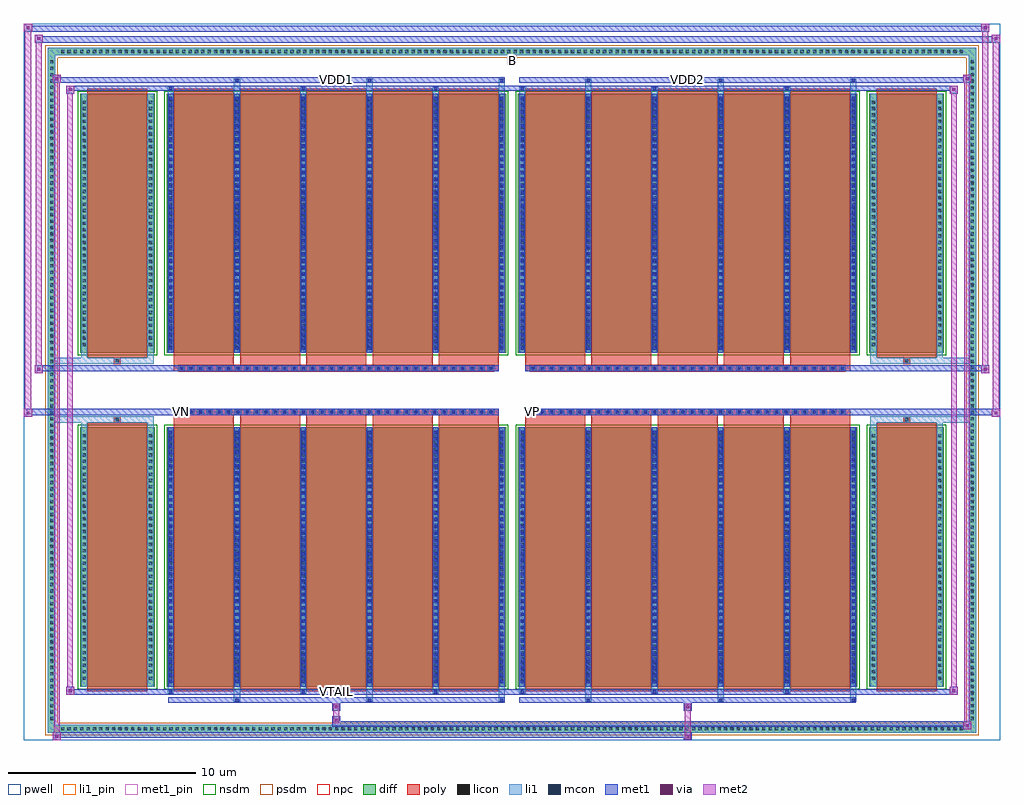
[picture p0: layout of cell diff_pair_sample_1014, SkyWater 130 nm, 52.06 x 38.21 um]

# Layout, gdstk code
import gdstk
lib = gdstk.Library(unit=1e-6, precision=5e-09)
def R(c, l, rs):  # rectangles x0, y0, x1, y1
    for r in rs: c.add(gdstk.rectangle(r[:2], r[2:], *l))
def A(c, l, x, y, w, h, nx, ny, dx, dy):  # array of equal rectangles
    R(c, l, [(x+i*dx, y+j*dy, x+i*dx+w, y+j*dy+h) for i in range(nx) for j in range(ny)])
def P(c, l, *ps):  # polygons
    for p in ps: c.add(gdstk.Polygon(p, *l))
pwell = (64, 44)
diff = (65, 20)
poly = (66, 20)
licon = (66, 44)
li1_pin = (67, 16)
li1 = (67, 20)
mcon = (67, 44)
met1_pin = (68, 16)
met1 = (68, 20)
via = (68, 44)
met2 = (69, 20)
nsdm = (93, 44)
psdm = (94, 20)
npc = (95, 20)

diff_pair_sample_1014 = lib.new_cell('diff_pair_sample_1014')
R(diff_pair_sample_1014, pwell, [(-26.03,-18.67,26.03,19.54), (-23.35,-16.86,-0.01,-0.8), (0.01,-16.86,23.35,-0.8), (-23.35,0.8,-0.01,16.86), (0.01,0.8,23.35,16.86)])
A(diff_pair_sample_1014, diff, -24.175, -18.27, 0.41, 0.41, 142, 2, 0.34, 36.13)
A(diff_pair_sample_1014, diff, -24.76, -17.715, 0.41, 0.41, 1, 104, 0, 0.34)
A(diff_pair_sample_1014, diff, 24.35, -17.715, 0.41, 0.41, 1, 104, 0, 0.34)
R(diff_pair_sample_1014, diff, [(-24.175,-18.27,24.175,-17.86), (-24.76,-17.715,-24.35,17.715), (24.35,-17.715,24.76,17.715), (-23.04,-15.815,-19.06,-1.985), (-18.42,-15.815,-0.32,-1.985), (0.32,-15.815,18.42,-1.985), (19.06,-15.815,23.04,-1.985), (-23.04,1.985,-19.06,15.815), (-18.42,1.985,-0.32,15.815), (0.32,1.985,18.42,15.815), (19.06,1.985,23.04,15.815), (-24.175,17.86,24.175,18.27)])
P(diff_pair_sample_1014, diff, [(24.76,18.27),(-24.76,18.27),(-24.76,-17.86),(-24.35,-17.86),(-24.35,17.86),(24.35,17.86),(24.35,-17.86),(-24.35,-17.86),(-24.76,-17.86),(-24.76,-18.27),(24.76,-18.27)])
A(diff_pair_sample_1014, poly, -18.03, -16.065, 3.2, 14.33, 5, 2, 3.53, 17.8)
A(diff_pair_sample_1014, poly, 0.71, -16.065, 3.2, 14.33, 5, 2, 3.53, 17.8)
A(diff_pair_sample_1014, poly, -18.03, -1.735, 3.2, 0.405, 5, 2, 3.53, 3.065)
A(diff_pair_sample_1014, poly, 0.71, -1.735, 3.2, 0.405, 5, 2, 3.53, 3.065)
A(diff_pair_sample_1014, poly, -17.785, -1.33, 0.33, 0.33, 34, 2, 0.5, 2.33)
A(diff_pair_sample_1014, poly, 0.955, -1.33, 0.33, 0.33, 34, 2, 0.5, 2.33)
R(diff_pair_sample_1014, poly, [(-22.65,-16.065,-19.45,-1.735), (19.45,-16.065,22.65,-1.735), (-21.215,-1.735,-20.885,-1.405), (-21.215,-1.735,-20.885,-1.405), (20.885,-1.735,21.215,-1.405), (20.885,-1.735,21.215,-1.405), (-18.03,-1.33,-0.71,-1), (0.71,-1.33,18.03,-1), (-18.03,1,-0.71,1.33), (0.71,1,18.03,1.33), (-21.215,1.405,-20.885,1.735), (-21.215,1.405,-20.885,1.735), (20.885,1.405,21.215,1.735), (20.885,1.405,21.215,1.735), (-22.65,1.735,-19.45,16.065), (19.45,1.735,22.65,16.065)])
A(diff_pair_sample_1014, licon, -24.055, -18.15, 0.17, 0.17, 142, 2, 0.34, 36.13)
A(diff_pair_sample_1014, licon, -24.64, -17.595, 0.17, 0.17, 1, 104, 0, 0.34)
A(diff_pair_sample_1014, licon, 24.47, -17.595, 0.17, 0.17, 1, 104, 0, 0.34)
A(diff_pair_sample_1014, licon, -22.9, -15.445, 0.17, 0.17, 1, 39, 0, 0.34)
A(diff_pair_sample_1014, licon, -19.37, -15.445, 0.17, 0.17, 1, 39, 0, 0.34)
A(diff_pair_sample_1014, licon, -18.28, -15.445, 0.17, 0.17, 6, 39, 3.53, 0.34)
A(diff_pair_sample_1014, licon, 0.46, -15.445, 0.17, 0.17, 6, 39, 3.53, 0.34)
A(diff_pair_sample_1014, licon, 19.2, -15.445, 0.17, 0.17, 1, 39, 0, 0.34)
A(diff_pair_sample_1014, licon, 22.73, -15.445, 0.17, 0.17, 1, 39, 0, 0.34)
A(diff_pair_sample_1014, licon, -17.705, -1.25, 0.17, 0.17, 34, 2, 0.5, 2.33)
A(diff_pair_sample_1014, licon, 1.035, -1.25, 0.17, 0.17, 34, 2, 0.5, 2.33)
A(diff_pair_sample_1014, licon, -22.9, 2.355, 0.17, 0.17, 1, 39, 0, 0.34)
A(diff_pair_sample_1014, licon, -19.37, 2.355, 0.17, 0.17, 1, 39, 0, 0.34)
A(diff_pair_sample_1014, licon, -18.28, 2.355, 0.17, 0.17, 6, 39, 3.53, 0.34)
A(diff_pair_sample_1014, licon, 0.46, 2.355, 0.17, 0.17, 6, 39, 3.53, 0.34)
A(diff_pair_sample_1014, licon, 19.2, 2.355, 0.17, 0.17, 1, 39, 0, 0.34)
A(diff_pair_sample_1014, licon, 22.73, 2.355, 0.17, 0.17, 1, 39, 0, 0.34)
R(diff_pair_sample_1014, licon, [(-21.135,-1.655,-20.965,-1.485), (20.965,-1.655,21.135,-1.485), (-21.135,1.485,-20.965,1.655), (20.965,1.485,21.135,1.655)])
R(diff_pair_sample_1014, li1_pin, [(-0.25,17.36,0.25,17.86)])
A(diff_pair_sample_1014, li1, -24.135, -18.23, 0.33, 0.33, 142, 2, 0.34, 36.13)
A(diff_pair_sample_1014, li1, -24.72, -17.675, 0.33, 0.33, 1, 104, 0, 0.34)
A(diff_pair_sample_1014, li1, 24.39, -17.675, 0.33, 0.33, 1, 104, 0, 0.34)
A(diff_pair_sample_1014, li1, -14.83, -16.62, 0.33, 0.805, 3, 2, 7.06, 32.435)
A(diff_pair_sample_1014, li1, -14.75, -16.62, 0.17, 0.17, 3, 2, 7.06, 33.07)
A(diff_pair_sample_1014, li1, 3.91, -16.62, 0.33, 0.805, 3, 2, 7.06, 32.435)
A(diff_pair_sample_1014, li1, 3.99, -16.62, 0.17, 0.17, 3, 2, 7.06, 33.07)
A(diff_pair_sample_1014, li1, -18.36, -16.19, 0.33, 0.375, 3, 2, 7.06, 32.005)
A(diff_pair_sample_1014, li1, -18.28, -16.19, 0.17, 0.17, 3, 2, 7.06, 32.21)
A(diff_pair_sample_1014, li1, 0.38, -16.19, 0.33, 0.375, 3, 2, 7.06, 32.005)
A(diff_pair_sample_1014, li1, 0.46, -16.19, 0.17, 0.17, 3, 2, 7.06, 32.21)
A(diff_pair_sample_1014, li1, -18.36, -15.815, 0.33, 13.83, 6, 2, 3.53, 17.8)
A(diff_pair_sample_1014, li1, 0.38, -15.815, 0.33, 13.83, 6, 2, 3.53, 17.8)
A(diff_pair_sample_1014, li1, -18.28, -15.645, 0.17, 0.17, 6, 38, 3.53, 0.36)
A(diff_pair_sample_1014, li1, -18.28, -15.645, 0.17, 13.49, 6, 2, 3.53, 17.8)
A(diff_pair_sample_1014, li1, 0.46, -15.645, 0.17, 0.17, 6, 38, 3.53, 0.36)
A(diff_pair_sample_1014, li1, 0.46, -15.645, 0.17, 13.49, 6, 2, 3.53, 17.8)
A(diff_pair_sample_1014, li1, -22.98, -15.525, 0.33, 0.33, 1, 39, 0, 0.34)
A(diff_pair_sample_1014, li1, -19.45, -15.525, 0.33, 0.33, 1, 39, 0, 0.34)
A(diff_pair_sample_1014, li1, -18.36, -15.525, 0.33, 0.33, 6, 39, 3.53, 0.34)
A(diff_pair_sample_1014, li1, 0.38, -15.525, 0.33, 0.33, 6, 39, 3.53, 0.34)
A(diff_pair_sample_1014, li1, 19.12, -15.525, 0.33, 0.33, 1, 39, 0, 0.34)
A(diff_pair_sample_1014, li1, 22.65, -15.525, 0.33, 0.33, 1, 39, 0, 0.34)
A(diff_pair_sample_1014, li1, -17.785, -1.33, 0.33, 0.33, 34, 2, 0.5, 2.33)
A(diff_pair_sample_1014, li1, 0.955, -1.33, 0.33, 0.33, 34, 2, 0.5, 2.33)
A(diff_pair_sample_1014, li1, -18.28, 2.155, 0.17, 0.17, 6, 38, 3.53, 0.36)
A(diff_pair_sample_1014, li1, 0.46, 2.155, 0.17, 0.17, 6, 38, 3.53, 0.36)
A(diff_pair_sample_1014, li1, -22.98, 2.275, 0.33, 0.33, 1, 39, 0, 0.34)
A(diff_pair_sample_1014, li1, -19.45, 2.275, 0.33, 0.33, 1, 39, 0, 0.34)
A(diff_pair_sample_1014, li1, -18.36, 2.275, 0.33, 0.33, 6, 39, 3.53, 0.34)
A(diff_pair_sample_1014, li1, 0.38, 2.275, 0.33, 0.33, 6, 39, 3.53, 0.34)
A(diff_pair_sample_1014, li1, 19.12, 2.275, 0.33, 0.33, 1, 39, 0, 0.34)
A(diff_pair_sample_1014, li1, 22.65, 2.275, 0.33, 0.33, 1, 39, 0, 0.34)
R(diff_pair_sample_1014, li1, [(-24.76,-18.27,-24.35,-17.86), (-24.76,-18.27,-24.35,-17.86), (-24.35,-18.27,24.35,-17.86), (24.35,-18.27,24.76,-17.86), (24.35,-18.27,24.76,-17.86), (-24.76,-17.86,-24.35,17.86), (24.35,-17.86,24.76,17.86), (-22.98,-15.815,-22.65,-1.985), (-19.45,-15.815,-19.12,-1.985), (19.12,-15.815,19.45,-1.985), (22.65,-15.815,22.98,-1.985), (-22.98,-1.985,-22.65,-1.405), (-19.45,-1.985,-19.12,-1.405), (19.12,-1.985,19.45,-1.405), (22.65,-1.985,22.98,-1.405), (-24.76,-1.735,-21.215,-1.405), (-22.98,-1.735,-21.215,-1.405), (-21.215,-1.735,-20.885,-1.405), (-20.885,-1.735,-19.12,-1.405), (19.12,-1.735,20.885,-1.405), (20.885,-1.735,21.215,-1.405), (20.885,-1.735,24.76,-1.405), (21.215,-1.735,22.98,-1.405), (-24.76,1.405,-21.215,1.735), (-22.98,1.405,-21.215,1.735), (-22.98,1.405,-22.65,1.985), (-21.215,1.405,-20.885,1.735), (-20.885,1.405,-19.12,1.735), (-19.45,1.405,-19.12,1.985), (19.12,1.405,20.885,1.735), (19.12,1.405,19.45,1.985), (20.885,1.405,21.215,1.735), (20.885,1.405,24.76,1.735), (21.215,1.405,22.98,1.735), (22.65,1.405,22.98,1.985), (-22.98,1.985,-22.65,15.815), (-19.45,1.985,-19.12,15.815), (19.12,1.985,19.45,15.815), (22.65,1.985,22.98,15.815), (-24.76,17.86,-24.35,18.27), (-24.76,17.86,-24.35,18.27), (-24.35,17.86,24.35,18.27), (24.35,17.86,24.76,18.27), (24.35,17.86,24.76,18.27)])
A(diff_pair_sample_1014, mcon, -14.75, -16.62, 0.17, 0.17, 3, 2, 7.06, 33.07)
A(diff_pair_sample_1014, mcon, 3.99, -16.62, 0.17, 0.17, 3, 2, 7.06, 33.07)
A(diff_pair_sample_1014, mcon, -18.28, -16.19, 0.17, 0.17, 3, 2, 7.06, 32.21)
A(diff_pair_sample_1014, mcon, 0.46, -16.19, 0.17, 0.17, 3, 2, 7.06, 32.21)
A(diff_pair_sample_1014, mcon, -18.28, -15.645, 0.17, 0.17, 6, 38, 3.53, 0.36)
A(diff_pair_sample_1014, mcon, 0.46, -15.645, 0.17, 0.17, 6, 38, 3.53, 0.36)
A(diff_pair_sample_1014, mcon, -17.705, -1.25, 0.17, 0.17, 34, 2, 0.5, 2.33)
A(diff_pair_sample_1014, mcon, 1.035, -1.25, 0.17, 0.17, 34, 2, 0.5, 2.33)
A(diff_pair_sample_1014, mcon, -18.28, 2.155, 0.17, 0.17, 6, 38, 3.53, 0.36)
A(diff_pair_sample_1014, mcon, 0.46, 2.155, 0.17, 0.17, 6, 38, 3.53, 0.36)
R(diff_pair_sample_1014, met1_pin, [(-9.505,-16.23,-9.235,-15.96), (-17.755,-1.29,-17.485,-1.02), (0.985,-1.29,1.255,-1.02), (-9.505,16.41,-9.235,16.68), (9.235,16.41,9.505,16.68)])
A(diff_pair_sample_1014, met1, -14.81, -16.68, 0.29, 0.29, 3, 2, 7.06, 33.07)
A(diff_pair_sample_1014, met1, 3.93, -16.68, 0.29, 0.29, 3, 2, 7.06, 33.07)
A(diff_pair_sample_1014, met1, -18.34, -16.25, 0.29, 0.29, 3, 2, 7.06, 32.21)
A(diff_pair_sample_1014, met1, 0.4, -16.25, 0.29, 0.29, 3, 2, 7.06, 32.21)
A(diff_pair_sample_1014, met1, -18.34, -15.815, 0.29, 13.83, 6, 2, 3.53, 17.8)
A(diff_pair_sample_1014, met1, 0.4, -15.815, 0.29, 13.83, 6, 2, 3.53, 17.8)
A(diff_pair_sample_1014, met1, -18.34, -15.705, 0.29, 0.29, 6, 38, 3.53, 0.36)
A(diff_pair_sample_1014, met1, 0.4, -15.705, 0.29, 0.29, 6, 38, 3.53, 0.36)
A(diff_pair_sample_1014, met1, -17.765, -1.31, 0.29, 0.29, 34, 2, 0.5, 2.33)
A(diff_pair_sample_1014, met1, 0.975, -1.31, 0.29, 0.29, 34, 2, 0.5, 2.33)
A(diff_pair_sample_1014, met1, -18.34, 2.095, 0.29, 0.29, 6, 38, 3.53, 0.36)
A(diff_pair_sample_1014, met1, 0.4, 2.095, 0.29, 0.29, 6, 38, 3.53, 0.36)
R(diff_pair_sample_1014, met1, [(-24.49,-18.67,-24.06,-18.24), (9.155,-18.67,9.585,-18.24), (-24.49,-18.53,9.585,-18.24), (24.06,-18.1,24.49,-17.67), (-9.585,-17.96,24.49,-17.67), (-9.585,-17.82,-9.155,-17.39), (-9.585,-17.11,-9.155,-16.68), (9.155,-17.11,9.585,-16.68), (-18.34,-16.68,-0.4,-16.39), (0.4,-16.68,18.34,-16.39), (-23.78,-16.25,-23.35,-15.82), (-23.78,-16.25,-18.34,-15.96), (-18.34,-16.25,-0.4,-15.96), (-0.4,-16.25,0.4,-15.96), (0.4,-16.25,18.34,-15.96), (18.34,-16.25,23.78,-15.96), (23.35,-16.25,23.78,-15.82), (-26.03,-1.43,-25.6,-1), (25.6,-1.43,26.03,-1), (-26.03,-1.33,-0.71,-1), (-18.03,-1.33,-0.71,-1), (0.71,-1.33,18.03,-1), (0.71,-1.33,26.03,-1), (-25.46,0.9,-25.03,1.33), (25.03,0.9,25.46,1.33), (-25.46,1,-18.03,1.33), (-18.03,1,-0.71,1.33), (0.71,1,18.03,1.33), (18.03,1,25.46,1.33), (-23.78,15.82,-23.35,16.25), (23.35,15.82,23.78,16.25), (-23.78,15.96,-18.34,16.25), (-18.34,15.96,-0.4,16.25), (-0.4,15.96,0.4,16.25), (0.4,15.96,18.34,16.25), (18.34,15.96,23.78,16.25), (-24.49,16.39,-24.06,16.82), (-24.49,16.39,-18.34,16.68), (-18.34,16.39,-0.4,16.68), (0.4,16.39,18.34,16.68), (18.34,16.39,24.49,16.68), (24.06,16.39,24.49,16.82), (-25.46,18.54,-25.03,18.97), (-25.46,18.54,-23.35,18.87), (-23.35,18.54,23.35,18.87), (23.35,18.54,26.03,18.87), (25.6,18.54,26.03,18.97), (-26.03,19.11,-25.6,19.54), (-26.03,19.11,-23.35,19.44), (-23.35,19.11,23.35,19.44), (23.35,19.11,25.46,19.44), (25.03,19.11,25.46,19.54)])
R(diff_pair_sample_1014, via, [(-24.35,-18.53,-24.2,-18.38), (9.295,-18.53,9.445,-18.38), (24.2,-17.96,24.35,-17.81), (-9.445,-17.68,-9.295,-17.53), (-9.445,-16.97,-9.295,-16.82), (9.295,-16.97,9.445,-16.82), (-23.64,-16.11,-23.49,-15.96), (23.49,-16.11,23.64,-15.96), (-25.89,-1.29,-25.74,-1.14), (25.74,-1.29,25.89,-1.14), (-25.32,1.04,-25.17,1.19), (25.17,1.04,25.32,1.19), (-23.64,15.96,-23.49,16.11), (23.49,15.96,23.64,16.11), (-24.35,16.53,-24.2,16.68), (24.2,16.53,24.35,16.68), (-25.32,18.68,-25.17,18.83), (25.74,18.68,25.89,18.83), (-25.89,19.25,-25.74,19.4), (25.17,19.25,25.32,19.4)])
R(diff_pair_sample_1014, met2, [(-24.49,-18.67,-24.06,-18.24), (-24.42,-18.67,-24.13,16.82), (-24.13,-18.67,-24.06,-18.24), (-24.44,-18.62,-24.11,-18.29), (9.205,-18.62,9.535,-18.29), (9.205,-18.29,9.535,-17.06), (24.06,-18.1,24.49,-17.67), (24.13,-18.1,24.42,16.82), (24.42,-18.1,24.49,-17.67), (24.11,-18.05,24.44,-17.72), (-9.535,-17.77,-9.205,-17.44), (-9.535,-17.44,-9.205,-17.06), (-9.535,-17.06,-9.205,-16.73), (9.205,-17.06,9.535,-16.73), (-23.78,-16.25,-23.35,-15.82), (-23.71,-16.25,-23.42,16.25), (-23.42,-16.25,-23.35,-15.82), (23.35,-16.25,23.78,-15.82), (23.42,-16.25,23.71,16.25), (23.71,-16.25,23.78,-15.82), (-23.73,-16.2,-23.4,-15.87), (23.4,-16.2,23.73,-15.87), (-26.03,-1.43,-25.6,-1), (-25.98,-1.43,-25.65,19.54), (-25.65,-1.43,-25.6,-1), (25.6,-1.43,26.03,-1), (25.65,-1.43,25.98,18.97), (25.98,-1.43,26.03,-1), (-25.98,-1.38,-25.65,-1.05), (25.65,-1.38,25.98,-1.05), (-25.46,0.9,-25.03,1.33), (-25.41,0.9,-25.08,18.97), (-25.08,0.9,-25.03,1.33), (25.03,0.9,25.46,1.33), (25.08,0.9,25.41,19.54), (25.41,0.9,25.46,1.33), (-25.41,0.95,-25.08,1.28), (25.08,0.95,25.41,1.28), (-23.78,15.82,-23.35,16.25), (-23.42,15.82,-23.35,16.25), (23.35,15.82,23.78,16.25), (23.71,15.82,23.78,16.25), (-23.73,15.87,-23.4,16.2), (23.4,15.87,23.73,16.2), (-24.49,16.39,-24.06,16.82), (-24.13,16.39,-24.06,16.82), (24.06,16.39,24.49,16.82), (24.42,16.39,24.49,16.82), (-24.44,16.44,-24.11,16.77), (24.11,16.44,24.44,16.77), (-25.46,18.54,-25.03,18.97), (-25.08,18.54,-25.03,18.97), (25.6,18.54,26.03,18.97), (25.98,18.54,26.03,18.97), (-25.41,18.59,-25.08,18.92), (25.65,18.59,25.98,18.92), (-26.03,19.11,-25.6,19.54), (-25.65,19.11,-25.6,19.54), (25.03,19.11,25.46,19.54), (25.41,19.11,25.46,19.54), (-25.98,19.16,-25.65,19.49), (25.08,19.16,25.41,19.49)])
R(diff_pair_sample_1014, nsdm, [(-23.17,-15.945,-18.93,-1.855), (-18.55,-15.945,-0.19,-1.855), (0.19,-15.945,18.55,-1.855), (18.93,-15.945,23.17,-1.855), (-23.17,1.855,-18.93,15.945), (-18.55,1.855,-0.19,15.945), (0.19,1.855,18.55,15.945), (18.93,1.855,23.17,15.945)])
P(diff_pair_sample_1014, psdm, [(24.89,18.4),(-24.89,18.4),(-24.89,-17.73),(-24.22,-17.73),(-24.22,17.73),(24.22,17.73),(24.22,-17.73),(-24.22,-17.73),(-24.89,-17.73),(-24.89,-18.4),(24.89,-18.4)])
A(diff_pair_sample_1014, npc, -17.805, -1.35, 0.37, 0.37, 34, 2, 0.5, 2.33)
A(diff_pair_sample_1014, npc, 0.935, -1.35, 0.37, 0.37, 34, 2, 0.5, 2.33)
R(diff_pair_sample_1014, npc, [(-21.235,-1.755,-20.865,-1.385), (20.865,-1.755,21.235,-1.385), (-17.805,-1.35,-16.935,-0.98), (-17.805,-1.35,-16.935,-0.98), (-17.305,-1.35,-16.435,-0.98), (-17.305,-1.35,-16.435,-0.98), (-16.805,-1.35,-15.935,-0.98), (-16.805,-1.35,-15.935,-0.98), (-16.305,-1.35,-15.435,-0.98), (-16.305,-1.35,-15.435,-0.98), (-15.805,-1.35,-14.935,-0.98), (-15.805,-1.35,-14.935,-0.98), (-15.305,-1.35,-14.435,-0.98), (-15.305,-1.35,-14.435,-0.98), (-14.805,-1.35,-13.935,-0.98), (-14.805,-1.35,-13.935,-0.98), (-14.305,-1.35,-13.435,-0.98), (-14.305,-1.35,-13.435,-0.98), (-13.805,-1.35,-12.935,-0.98), (-13.805,-1.35,-12.935,-0.98), (-13.305,-1.35,-12.435,-0.98), (-13.305,-1.35,-12.435,-0.98), (-12.805,-1.35,-11.935,-0.98), (-12.805,-1.35,-11.935,-0.98), (-12.305,-1.35,-11.435,-0.98), (-12.305,-1.35,-11.435,-0.98), (-11.805,-1.35,-10.935,-0.98), (-11.805,-1.35,-10.935,-0.98), (-11.305,-1.35,-10.435,-0.98), (-11.305,-1.35,-10.435,-0.98), (-10.805,-1.35,-9.935,-0.98), (-10.805,-1.35,-9.935,-0.98), (-10.305,-1.35,-9.435,-0.98), (-10.305,-1.35,-9.435,-0.98), (-9.805,-1.35,-8.935,-0.98), (-9.805,-1.35,-8.935,-0.98), (-9.305,-1.35,-8.435,-0.98), (-9.305,-1.35,-8.435,-0.98), (-8.805,-1.35,-7.935,-0.98), (-8.805,-1.35,-7.935,-0.98), (-8.305,-1.35,-7.435,-0.98), (-8.305,-1.35,-7.435,-0.98), (-7.805,-1.35,-6.935,-0.98), (-7.805,-1.35,-6.935,-0.98), (-7.305,-1.35,-6.435,-0.98), (-7.305,-1.35,-6.435,-0.98), (-6.805,-1.35,-5.935,-0.98), (-6.805,-1.35,-5.935,-0.98), (-6.305,-1.35,-5.435,-0.98), (-6.305,-1.35,-5.435,-0.98), (-5.805,-1.35,-4.935,-0.98), (-5.805,-1.35,-4.935,-0.98), (-5.305,-1.35,-4.435,-0.98), (-5.305,-1.35,-4.435,-0.98), (-4.805,-1.35,-3.935,-0.98), (-4.805,-1.35,-3.935,-0.98), (-4.305,-1.35,-3.435,-0.98), (-4.305,-1.35,-3.435,-0.98), (-3.805,-1.35,-2.935,-0.98), (-3.805,-1.35,-2.935,-0.98), (-3.305,-1.35,-2.435,-0.98), (-3.305,-1.35,-2.435,-0.98), (-2.805,-1.35,-1.935,-0.98), (-2.805,-1.35,-1.935,-0.98), (-2.305,-1.35,-1.435,-0.98), (-2.305,-1.35,-1.435,-0.98), (-1.805,-1.35,-0.935,-0.98), (-1.805,-1.35,-0.935,-0.98), (0.935,-1.35,1.805,-0.98), (0.935,-1.35,1.805,-0.98), (1.435,-1.35,2.305,-0.98), (1.435,-1.35,2.305,-0.98), (1.935,-1.35,2.805,-0.98), (1.935,-1.35,2.805,-0.98), (2.435,-1.35,3.305,-0.98), (2.435,-1.35,3.305,-0.98), (2.935,-1.35,3.805,-0.98), (2.935,-1.35,3.805,-0.98), (3.435,-1.35,4.305,-0.98), (3.435,-1.35,4.305,-0.98), (3.935,-1.35,4.805,-0.98), (3.935,-1.35,4.805,-0.98), (4.435,-1.35,5.305,-0.98), (4.435,-1.35,5.305,-0.98), (4.935,-1.35,5.805,-0.98), (4.935,-1.35,5.805,-0.98), (5.435,-1.35,6.305,-0.98), (5.435,-1.35,6.305,-0.98), (5.935,-1.35,6.805,-0.98), (5.935,-1.35,6.805,-0.98), (6.435,-1.35,7.305,-0.98), (6.435,-1.35,7.305,-0.98), (6.935,-1.35,7.805,-0.98), (6.935,-1.35,7.805,-0.98), (7.435,-1.35,8.305,-0.98), (7.435,-1.35,8.305,-0.98), (7.935,-1.35,8.805,-0.98), (7.935,-1.35,8.805,-0.98), (8.435,-1.35,9.305,-0.98), (8.435,-1.35,9.305,-0.98), (8.935,-1.35,9.805,-0.98), (8.935,-1.35,9.805,-0.98), (9.435,-1.35,10.305,-0.98), (9.435,-1.35,10.305,-0.98), (9.935,-1.35,10.805,-0.98), (9.935,-1.35,10.805,-0.98), (10.435,-1.35,11.305,-0.98), (10.435,-1.35,11.305,-0.98), (10.935,-1.35,11.805,-0.98), (10.935,-1.35,11.805,-0.98), (11.435,-1.35,12.305,-0.98), (11.435,-1.35,12.305,-0.98), (11.935,-1.35,12.805,-0.98), (11.935,-1.35,12.805,-0.98), (12.435,-1.35,13.305,-0.98), (12.435,-1.35,13.305,-0.98), (12.935,-1.35,13.805,-0.98), (12.935,-1.35,13.805,-0.98), (13.435,-1.35,14.305,-0.98), (13.435,-1.35,14.305,-0.98), (13.935,-1.35,14.805,-0.98), (13.935,-1.35,14.805,-0.98), (14.435,-1.35,15.305,-0.98), (14.435,-1.35,15.305,-0.98), (14.935,-1.35,15.805,-0.98), (14.935,-1.35,15.805,-0.98), (15.435,-1.35,16.305,-0.98), (15.435,-1.35,16.305,-0.98), (15.935,-1.35,16.805,-0.98), (15.935,-1.35,16.805,-0.98), (16.435,-1.35,17.305,-0.98), (16.435,-1.35,17.305,-0.98), (16.935,-1.35,17.805,-0.98), (16.935,-1.35,17.805,-0.98), (-17.805,0.98,-16.935,1.35), (-17.805,0.98,-16.935,1.35), (-17.305,0.98,-16.435,1.35), (-17.305,0.98,-16.435,1.35), (-16.805,0.98,-15.935,1.35), (-16.805,0.98,-15.935,1.35), (-16.305,0.98,-15.435,1.35), (-16.305,0.98,-15.435,1.35), (-15.805,0.98,-14.935,1.35), (-15.805,0.98,-14.935,1.35), (-15.305,0.98,-14.435,1.35), (-15.305,0.98,-14.435,1.35), (-14.805,0.98,-13.935,1.35), (-14.805,0.98,-13.935,1.35), (-14.305,0.98,-13.435,1.35), (-14.305,0.98,-13.435,1.35), (-13.805,0.98,-12.935,1.35), (-13.805,0.98,-12.935,1.35), (-13.305,0.98,-12.435,1.35), (-13.305,0.98,-12.435,1.35), (-12.805,0.98,-11.935,1.35), (-12.805,0.98,-11.935,1.35), (-12.305,0.98,-11.435,1.35), (-12.305,0.98,-11.435,1.35), (-11.805,0.98,-10.935,1.35), (-11.805,0.98,-10.935,1.35), (-11.305,0.98,-10.435,1.35), (-11.305,0.98,-10.435,1.35), (-10.805,0.98,-9.935,1.35), (-10.805,0.98,-9.935,1.35), (-10.305,0.98,-9.435,1.35), (-10.305,0.98,-9.435,1.35), (-9.805,0.98,-8.935,1.35), (-9.805,0.98,-8.935,1.35), (-9.305,0.98,-8.435,1.35), (-9.305,0.98,-8.435,1.35), (-8.805,0.98,-7.935,1.35), (-8.805,0.98,-7.935,1.35), (-8.305,0.98,-7.435,1.35), (-8.305,0.98,-7.435,1.35), (-7.805,0.98,-6.935,1.35), (-7.805,0.98,-6.935,1.35), (-7.305,0.98,-6.435,1.35), (-7.305,0.98,-6.435,1.35), (-6.805,0.98,-5.935,1.35), (-6.805,0.98,-5.935,1.35), (-6.305,0.98,-5.435,1.35), (-6.305,0.98,-5.435,1.35), (-5.805,0.98,-4.935,1.35), (-5.805,0.98,-4.935,1.35), (-5.305,0.98,-4.435,1.35), (-5.305,0.98,-4.435,1.35), (-4.805,0.98,-3.935,1.35), (-4.805,0.98,-3.935,1.35), (-4.305,0.98,-3.435,1.35), (-4.305,0.98,-3.435,1.35), (-3.805,0.98,-2.935,1.35), (-3.805,0.98,-2.935,1.35), (-3.305,0.98,-2.435,1.35), (-3.305,0.98,-2.435,1.35), (-2.805,0.98,-1.935,1.35), (-2.805,0.98,-1.935,1.35), (-2.305,0.98,-1.435,1.35), (-2.305,0.98,-1.435,1.35), (-1.805,0.98,-0.935,1.35), (-1.805,0.98,-0.935,1.35), (0.935,0.98,1.805,1.35), (0.935,0.98,1.805,1.35), (1.435,0.98,2.305,1.35), (1.435,0.98,2.305,1.35), (1.935,0.98,2.805,1.35), (1.935,0.98,2.805,1.35), (2.435,0.98,3.305,1.35), (2.435,0.98,3.305,1.35), (2.935,0.98,3.805,1.35), (2.935,0.98,3.805,1.35), (3.435,0.98,4.305,1.35), (3.435,0.98,4.305,1.35), (3.935,0.98,4.805,1.35), (3.935,0.98,4.805,1.35), (4.435,0.98,5.305,1.35), (4.435,0.98,5.305,1.35), (4.935,0.98,5.805,1.35), (4.935,0.98,5.805,1.35), (5.435,0.98,6.305,1.35), (5.435,0.98,6.305,1.35), (5.935,0.98,6.805,1.35), (5.935,0.98,6.805,1.35), (6.435,0.98,7.305,1.35), (6.435,0.98,7.305,1.35), (6.935,0.98,7.805,1.35), (6.935,0.98,7.805,1.35), (7.435,0.98,8.305,1.35), (7.435,0.98,8.305,1.35), (7.935,0.98,8.805,1.35), (7.935,0.98,8.805,1.35), (8.435,0.98,9.305,1.35), (8.435,0.98,9.305,1.35), (8.935,0.98,9.805,1.35), (8.935,0.98,9.805,1.35), (9.435,0.98,10.305,1.35), (9.435,0.98,10.305,1.35), (9.935,0.98,10.805,1.35), (9.935,0.98,10.805,1.35), (10.435,0.98,11.305,1.35), (10.435,0.98,11.305,1.35), (10.935,0.98,11.805,1.35), (10.935,0.98,11.805,1.35), (11.435,0.98,12.305,1.35), (11.435,0.98,12.305,1.35), (11.935,0.98,12.805,1.35), (11.935,0.98,12.805,1.35), (12.435,0.98,13.305,1.35), (12.435,0.98,13.305,1.35), (12.935,0.98,13.805,1.35), (12.935,0.98,13.805,1.35), (13.435,0.98,14.305,1.35), (13.435,0.98,14.305,1.35), (13.935,0.98,14.805,1.35), (13.935,0.98,14.805,1.35), (14.435,0.98,15.305,1.35), (14.435,0.98,15.305,1.35), (14.935,0.98,15.805,1.35), (14.935,0.98,15.805,1.35), (15.435,0.98,16.305,1.35), (15.435,0.98,16.305,1.35), (15.935,0.98,16.805,1.35), (15.935,0.98,16.805,1.35), (16.435,0.98,17.305,1.35), (16.435,0.98,17.305,1.35), (16.935,0.98,17.805,1.35), (16.935,0.98,17.805,1.35), (-21.235,1.385,-20.865,1.755), (20.865,1.385,21.235,1.755)])
diff_pair_sample_1014.add(gdstk.Label('VTAIL', (-9.37,-16.095), layer=68, texttype=5))
diff_pair_sample_1014.add(gdstk.Label('VN', (-17.62,-1.155), layer=68, texttype=5))
diff_pair_sample_1014.add(gdstk.Label('VP', (1.12,-1.155), layer=68, texttype=5))
diff_pair_sample_1014.add(gdstk.Label('B', (0,17.61), layer=67, texttype=5))
diff_pair_sample_1014.add(gdstk.Label('VDD2', (9.37,16.545), layer=68, texttype=5))
diff_pair_sample_1014.add(gdstk.Label('VDD1', (-9.37,16.545), layer=68, texttype=5))

lib.write_gds('diff_pair_sample_1014.gds')
